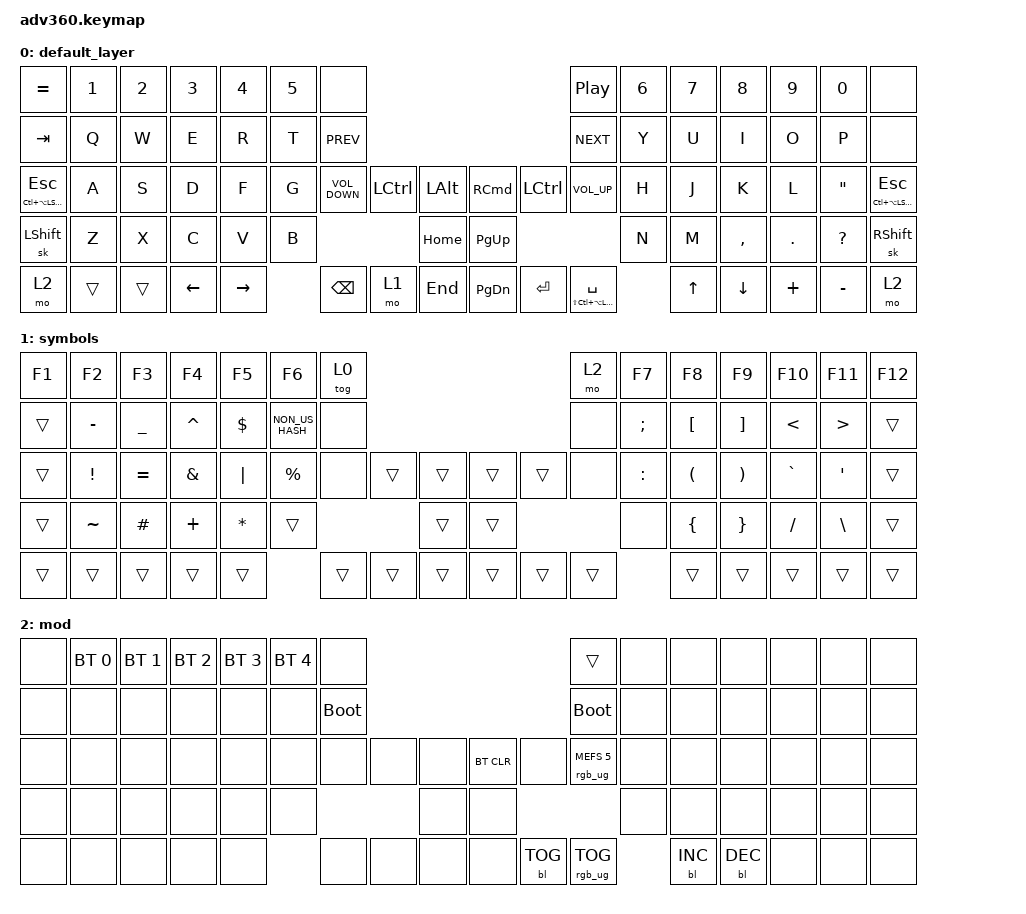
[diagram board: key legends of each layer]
#include <behaviors.dtsi>
#include <dt-bindings/zmk/backlight.h>
#include <dt-bindings/zmk/bt.h>
#include <dt-bindings/zmk/keys.h>
#include <dt-bindings/zmk/rgb.h>

#define HYPER LS(LC(LA(LGUI)))
#define MEH LC(LA(LSHFT))

/ {
    behaviors {
        #include "macros.dtsi"

        hm: homerow_mods {
            compatible = "zmk,behavior-hold-tap";
            label = "HOMEROW_MODS";
            #binding-cells = <2>;
            tapping-term-ms = <200>;
            quick_tap_ms = <175>;
            flavor = "tap-preferred";
            bindings = <&kp>, <&kp>;
        };
    };

    keymap {
        compatible = "zmk,keymap";

        default_layer {
            bindings = <
&kp EQUAL       &kp N1  &kp N2  &kp N3    &kp N4     &kp N5  &none                                                                                       &kp C_PLAY_PAUSE  &kp N6  &kp N7        &kp N8     &kp N9    &kp N0             &none
&kp TAB         &kp Q   &kp W   &kp E     &kp R      &kp T   &kp C_PREV                                                                                  &kp C_NEXT        &kp Y   &kp U         &kp I      &kp O     &kp P              &none
&mt MEH ESC     &kp A   &kp S   &kp D     &kp F      &kp G   &kp C_VOLUME_DOWN  &kp LEFT_CONTROL  &kp LEFT_ALT      &kp RIGHT_COMMAND  &kp LEFT_CONTROL  &kp C_VOLUME_UP   &kp H   &kp J         &kp K      &kp L     &kp DOUBLE_QUOTES  &mt MEH ESC
&sk LEFT_SHIFT  &kp Z   &kp X   &kp C     &kp V      &kp B                                        &kp HOME          &kp PAGE_UP                                            &kp N   &kp M         &kp COMMA  &kp DOT   &kp QUESTION       &sk RIGHT_SHIFT
&mo 2           &trans  &trans  &kp LEFT  &kp RIGHT          &kp BACKSPACE      &mo 1             &kp END           &kp PAGE_DOWN      &kp ENTER         &mt HYPER SPACE           &kp UP_ARROW  &kp DOWN   &kp PLUS  &kp MINUS          &mo 2
            >;
        };

        symbols {
            bindings = <
&kp F1  &kp F2     &kp F3          &kp F4     &kp F5      &kp F6           &tog 0                                      &mo 2   &kp F7         &kp F8                &kp F9                 &kp F10    &kp F11           &kp F12
&trans  &kp MINUS  &kp UNDERSCORE  &kp CARET  &kp DOLLAR  &kp NON_US_HASH  &none                                       &none   &kp SEMICOLON  &kp LEFT_BRACKET      &kp RIGHT_BRACKET      &kp LT     &kp GT            &trans
&trans  &kp EXCL   &kp EQUAL       &kp AMPS   &kp PIPE    &kp PERCENT      &none   &trans  &trans      &trans  &trans  &none   &kp COLON      &kp LEFT_PARENTHESIS  &kp RIGHT_PARENTHESIS  &kp GRAVE  &kp SINGLE_QUOTE  &trans
&trans  &kp TILDE  &kp HASH        &kp PLUS   &kp ASTRK   &trans                           &trans      &trans                  &none          &kp LEFT_BRACE        &kp RIGHT_BRACE        &kp SLASH  &kp BACKSLASH     &trans
&trans  &trans     &trans          &trans     &trans                       &trans  &trans  &trans      &trans  &trans  &trans                 &trans                &trans                 &trans     &trans            &trans
            >;
        };

        mod {
            bindings = <
&none  &bt BT_SEL 0  &bt BT_SEL 1  &bt BT_SEL 2  &bt BT_SEL 3  &bt BT_SEL 4  &none                                                  &trans                  &none  &none       &none       &none  &none  &none
&none  &none         &none         &none         &none         &none         &bootloader                                            &bootloader             &none  &none       &none       &none  &none  &none
&none  &none         &none         &none         &none         &none         &none        &none  &none      &bt BT_CLR  &none       &rgb_ug RGB_MEFS_CMD 5  &none  &none       &none       &none  &none  &none
&none  &none         &none         &none         &none         &none                             &none      &none                                           &none  &none       &none       &none  &none  &none
&none  &none         &none         &none         &none                       &none        &none  &none      &none       &bl BL_TOG  &rgb_ug RGB_TOG                &bl BL_INC  &bl BL_DEC  &none  &none  &none
            >;
        };
    };
};
